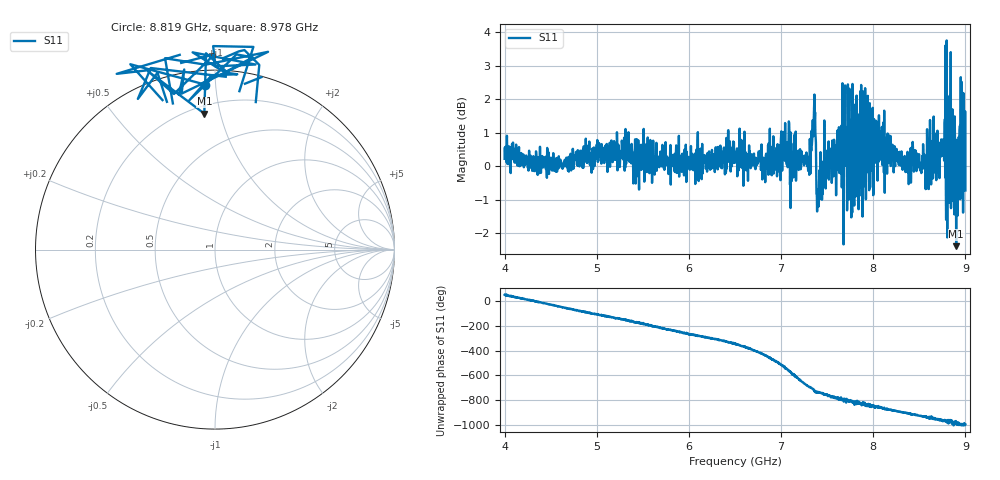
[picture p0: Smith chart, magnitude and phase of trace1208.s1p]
! Created with skrf 1.8.0 (http://scikit-rf.org).
# Hz S RI R 50.0
!freq ReS11 ImS11
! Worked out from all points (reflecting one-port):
!   1601 points, 4 GHz to 9 GHz, reference 50 ohm
!   lowest |S11| = -2.4 dB at 8.9 GHz (marker M1), VSWR 7.33, Z = 12.5 + j44.7 ohm
!   phase of S11 starts at 51 deg and turns -1049 deg over the sweep
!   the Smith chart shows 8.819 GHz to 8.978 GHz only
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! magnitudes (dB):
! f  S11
! 4 GHz  0.2
! 4.625 GHz  -0.1
! 5.25 GHz  0.0
! 5.875 GHz  0.0
! 6.5 GHz  0.1
! 6.806 GHz  0.1
! 7.022 GHz  0.8
! 7.125 GHz  0.4
! 7.294 GHz  -0.1
! 7.353 GHz  1.2
! 7.409 GHz  -1.2
! 7.453 GHz  -0.3
! 7.575 GHz  0.8
! 7.688 GHz  1.4
! 7.75 GHz  0.4
! 7.788 GHz  0.4
! 7.844 GHz  1.0
! 7.928 GHz  0.5
! 7.981 GHz  0.1
! 8.088 GHz  0.2
! 8.375 GHz  0.1
! 8.441 GHz  -0.2
! 8.584 GHz  1.1
! 8.759 GHz  0.8
! 8.9 GHz  -2.4
! 8.956 GHz  0.0
! 8.972 GHz  0.5
! 9 GHz  -0.7
